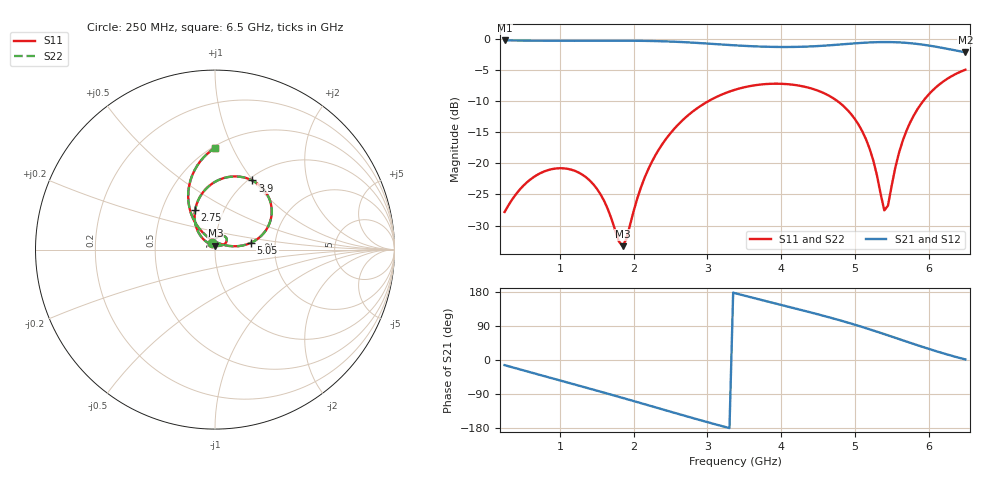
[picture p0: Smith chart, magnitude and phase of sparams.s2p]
! NobuRF kit-fr4-50-r2-thru: ports 1 "p1", 2 "p2"; 6200 + 6200 steps
# GHz S RI R 50
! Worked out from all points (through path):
!   126 points, 250 MHz to 6.5 GHz, reference 50 ohm
!   highest |S21| = -0.21 dB at 250 MHz (marker M1); lowest = -2.1 dB at 6.5 GHz (marker M2)
!   group delay of S21, straight-line fit = 151 ps
!   lowest |S11| = -33.3 dB at 1.85 GHz (marker M3), VSWR 1.04, Z = 50.2 + j2.15 ohm
!   |S11| at or under -10 dB: start of sweep to 3.012 GHz; 4.767 GHz to 5.926 GHz (1.159 GHz wide, 21.7 % of centre)
!   |S22| runs from -33.3 to -4.9 dB; largest |S21 - S12| = 3.1e-08
!   S11 on the Smith chart (normalised r, x): 250 MHz: 0.97, +0.07; 2.75 GHz: 0.73, +0.34; 3.9 GHz: 1.04, +0.99; 5.05 GHz: 1.50, +0.12; 6.5 GHz: 0.51, +0.86
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0.25  -0.0148 0.0378  0.9486 -0.2287  0.9486 -0.2287  -0.0148 0.0378
0.5  0.00718 0.0653  0.8673 -0.443  0.8673 -0.443  0.00718 0.0653
0.75  0.0347 0.0768  0.7389 -0.631  0.7389 -0.631  0.0347 0.0768
1.3  0.0653 0.0487  0.3318 -0.9114  0.3318 -0.9114  0.0653 0.0487
1.55  0.0488 0.0285  0.1094 -0.9645  0.1094 -0.9645  0.0488 0.0285
1.85  0.00241 0.0214  -0.1684 -0.9564  -0.1684 -0.9564  0.00241 0.0214
2.1  -0.0476 0.0432  -0.3925 -0.8858  -0.3925 -0.8858  -0.0476 0.0432
2.35  -0.0915 0.0946  -0.5916 -0.7591  -0.5916 -0.7591  -0.0915 0.0946
2.75  -0.1105 0.2209  -0.8169 -0.4662  -0.8169 -0.4662  -0.1105 0.2209
3.4  0.0348 0.3938  -0.8864 0.075  -0.8864 0.075  0.0348 0.3938
3.9  0.2078 0.3851  -0.752 0.4295  -0.752 0.4295  0.2078 0.3851
4.45  0.3146 0.2375  -0.4786 0.7343  -0.4786 0.7343  0.3146 0.2375
4.8  0.2852 0.1098  -0.2281 0.8761  -0.2281 0.8761  0.2852 0.1098
5.05  0.2018 0.0385  -0.00306 0.929  -0.00306 0.929  0.2018 0.0385
5.25  0.1043 0.0184  0.1977 0.922  0.1977 0.922  0.1043 0.0184
5.4  0.0242 0.0341  0.3498 0.8802  0.3498 0.8802  0.0242 0.0341
5.45  -0.00173 0.0457  0.3989 0.8589  0.3989 0.8589  -0.00173 0.0457
5.5  -0.0267 0.0604  0.4466 0.8339  0.4466 0.8339  -0.0267 0.0604
5.65  -0.0914 0.1216  0.5771 0.7391  0.5771 0.7391  -0.0914 0.1216
5.85  -0.1424 0.2327  0.7101 0.5758  0.7101 0.5758  -0.1424 0.2327
6.15  -0.1268 0.4141  0.8036 0.3011  0.8036 0.3011  -0.1268 0.4141
6.5  0.000938 0.5674  0.7836 0.0199  0.7836 0.0199  0.000938 0.5674
